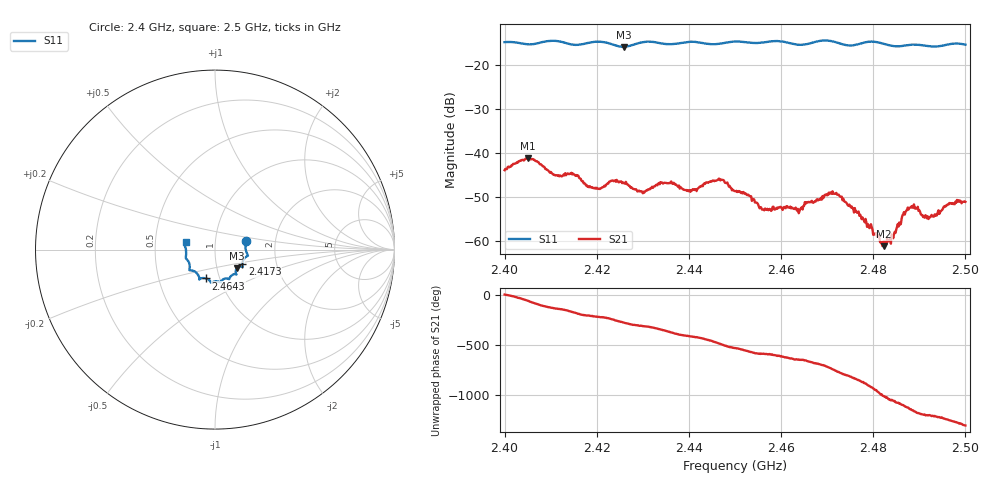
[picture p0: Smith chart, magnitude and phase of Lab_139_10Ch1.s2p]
# Hz S RI R 50
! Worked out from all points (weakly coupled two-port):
!   601 points, 2.4 GHz to 2.5 GHz, reference 50 ohm
!   highest |S21| = -41.12 dB at 2.405 GHz (marker M1); lowest = -61.1 dB at 2.4823 GHz (marker M2)
!   lowest |S11| = -15.9 dB at 2.4258 GHz (marker M3), VSWR 1.38, Z = 62.3 - j13.2 ohm
!   |S11| at or under -10 dB: start of sweep to end of sweep
!   S12 and S22 are empty: the file has one direction only
!   S11 on the Smith chart (normalised r, x): 2.4 GHz: 1.41, +0.15; 2.4173 GHz: 1.34, -0.23; 2.4643 GHz: 0.86, -0.28; 2.5 GHz: 0.72, +0.06
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2.4e9  0.1732 0.0498  0.00639 0.000601  0 0  0 0
2.405e9  0.17 0.0137  0.00483 -0.00734  0 0  0 0
2.410833e9  0.1835 -0.0341  -0.00383 -0.00419  0 0  0 0
2.416667e9  0.1528 -0.0746  -0.00473 0.00129  0 0  0 0
2.417333e9  0.1522 -0.0821  -0.00424 0.00164  0 0  0 0
2.420333e9  0.1548 -0.0971  -0.00308 0.00244  0 0  0 0
2.425833e9  0.1215 -0.1035  0.000318 0.00462  0 0  0 0
2.429833e9  0.1178 -0.1355  0.0023 0.00286  0 0  0 0
2.433333e9  0.1128 -0.1368  0.00419 0.0017  0 0  0 0
2.440167e9  0.0797 -0.1636  0.00236 -0.00298  0 0  0 0
2.447e9  0.0403 -0.1693  -0.00329 -0.00378  0 0  0 0
2.45e9  0.0298 -0.181  -0.00364 -0.00074  0 0  0 0
2.456333e9  -0.00915 -0.1794  -0.00154 0.00165  0 0  0 0
2.464333e9  -0.0501 -0.1606  0.000598 0.00231  0 0  0 0
2.466667e9  -0.0762 -0.1598  0.00189 0.00218  0 0  0 0
2.472333e9  -0.0887 -0.1535  0.0023 -0.00248  0 0  0 0
2.482333e9  -0.1405 -0.0996  0.000286 0.000838  0 0  0 0
2.483333e9  -0.1408 -0.0896  0.000788 0.000657  0 0  0 0
2.487833e9  -0.16 -0.0516  0.00134 -0.00199  0 0  0 0
2.492e9  -0.1606 -0.0251  -0.000884 -0.00156  0 0  0 0
2.4965e9  -0.1692 0.0232  -0.00268 -0.000465  0 0  0 0
2.5e9  -0.1636 0.0422  -0.00209 0.00188  0 0  0 0
